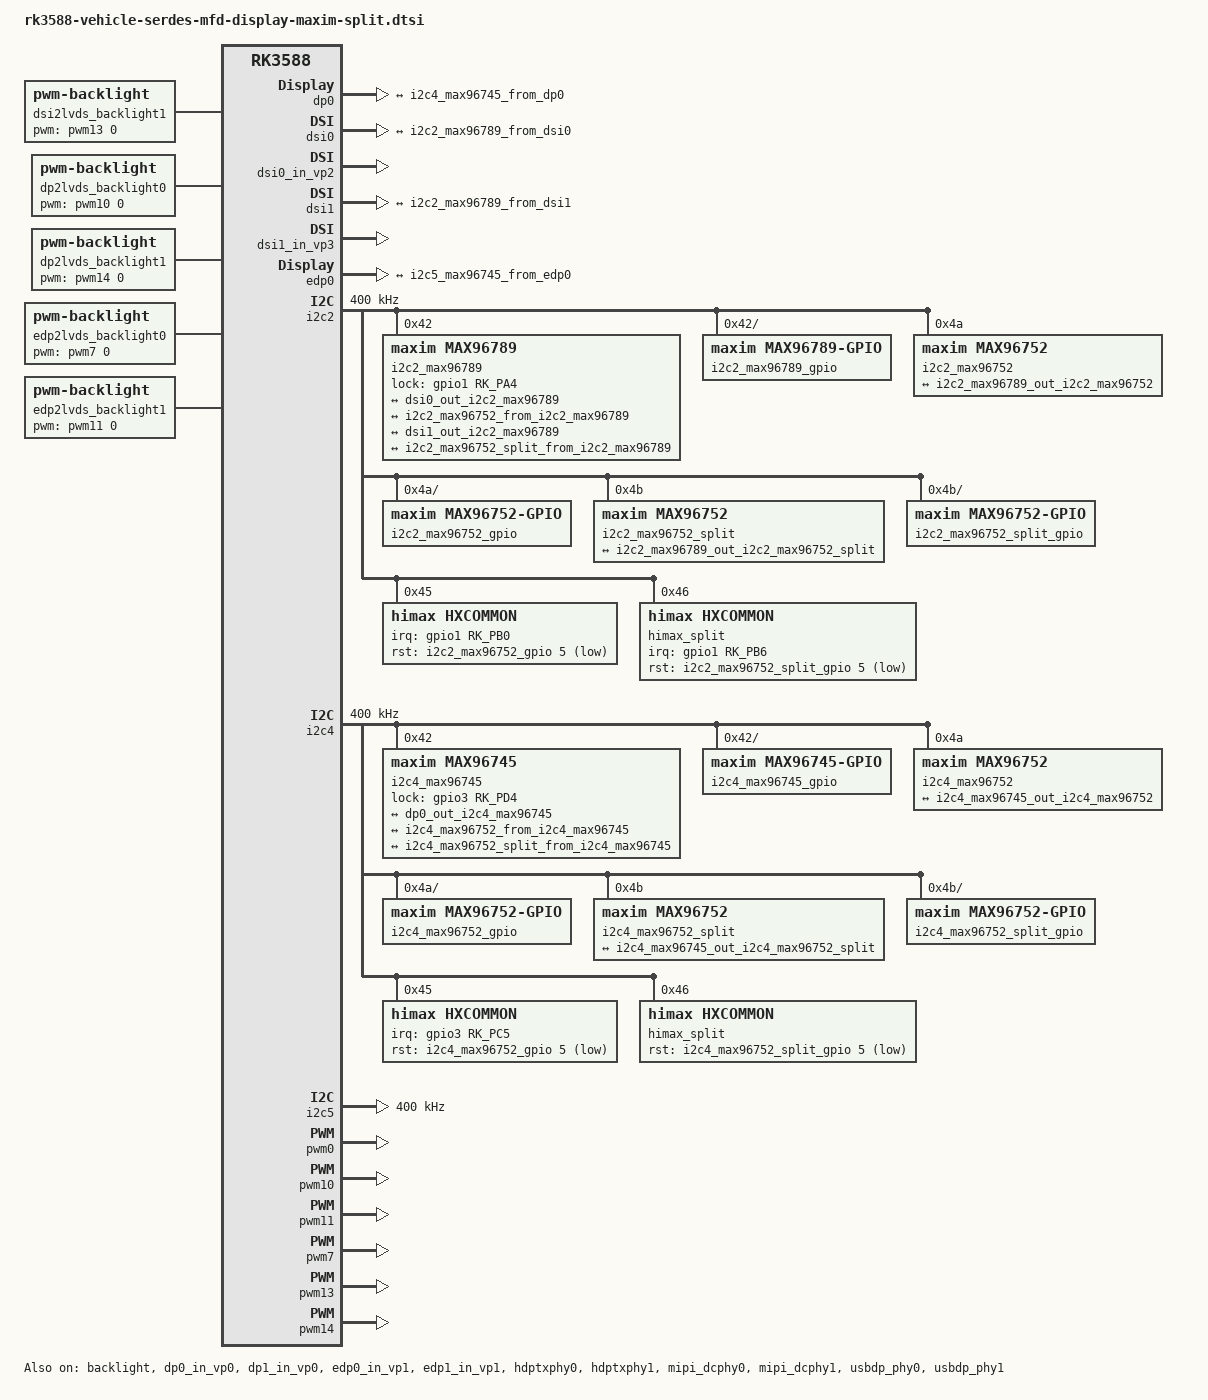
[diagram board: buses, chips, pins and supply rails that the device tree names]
// SPDX-License-Identifier: (GPL-2.0+ OR MIT)
/*
 * Copyright (c) 2023 Rockchip Electronics Co., Ltd.
 *
 */

/ {
	dsi2lvds_backlight1: dsi2lvds_backlight1 {
		compatible = "pwm-backlight";
		brightness-levels = <
			  0  20  20  21  21  22  22  23
			 23  24  24  25  25  26  26  27
			 27  28  28  29  29  30  30  31
			 31  32  32  33  33  34  34  35
			 35  36  36  37  37  38  38  39
			 40  41  42  43  44  45  46  47
			 48  49  50  51  52  53  54  55
			 56  57  58  59  60  61  62  63
			 64  65  66  67  68  69  70  71
			 72  73  74  75  76  77  78  79
			 80  81  82  83  84  85  86  87
			 88  89  90  91  92  93  94  95
			 96  97  98  99 100 101 102 103
			104 105 106 107 108 109 110 111
			112 113 114 115 116 117 118 119
			120 121 122 123 124 125 126 127
			128 129 130 131 132 133 134 135
			136 137 138 139 140 141 142 143
			144 145 146 147 148 149 150 151
			152 153 154 155 156 157 158 159
			160 161 162 163 164 165 166 167
			168 169 170 171 172 173 174 175
			176 177 178 179 180 181 182 183
			184 185 186 187 188 189 190 191
			192 193 194 195 196 197 198 199
			200 201 202 203 204 205 206 207
			208 209 210 211 212 213 214 215
			216 217 218 219 220 221 222 223
			224 225 226 227 228 229 230 231
			232 233 234 235 236 237 238 239
			240 241 242 243 244 245 246 247
			248 249 250 251 252 253 254 255
		>;
		default-brightness-level = <200>;
	};

	dp2lvds_backlight0: dp2lvds_backlight0 {
		compatible = "pwm-backlight";
		brightness-levels = <
			  0  20  20  21  21  22  22  23
			 23  24  24  25  25  26  26  27
			 27  28  28  29  29  30  30  31
			 31  32  32  33  33  34  34  35
			 35  36  36  37  37  38  38  39
			 40  41  42  43  44  45  46  47
			 48  49  50  51  52  53  54  55
			 56  57  58  59  60  61  62  63
			 64  65  66  67  68  69  70  71
			 72  73  74  75  76  77  78  79
			 80  81  82  83  84  85  86  87
			 88  89  90  91  92  93  94  95
			 96  97  98  99 100 101 102 103
			104 105 106 107 108 109 110 111
			112 113 114 115 116 117 118 119
			120 121 122 123 124 125 126 127
			128 129 130 131 132 133 134 135
			136 137 138 139 140 141 142 143
			144 145 146 147 148 149 150 151
			152 153 154 155 156 157 158 159
			160 161 162 163 164 165 166 167
			168 169 170 171 172 173 174 175
			176 177 178 179 180 181 182 183
			184 185 186 187 188 189 190 191
			192 193 194 195 196 197 198 199
			200 201 202 203 204 205 206 207
			208 209 210 211 212 213 214 215
			216 217 218 219 220 221 222 223
			224 225 226 227 228 229 230 231
			232 233 234 235 236 237 238 239
			240 241 242 243 244 245 246 247
			248 249 250 251 252 253 254 255
		>;
		default-brightness-level = <200>;
	};

	dp2lvds_backlight1: dp2lvds_backlight1 {
		compatible = "pwm-backlight";
		brightness-levels = <
			  0  20  20  21  21  22  22  23
			 23  24  24  25  25  26  26  27
			 27  28  28  29  29  30  30  31
			 31  32  32  33  33  34  34  35
			 35  36  36  37  37  38  38  39
			 40  41  42  43  44  45  46  47
			 48  49  50  51  52  53  54  55
			 56  57  58  59  60  61  62  63
			 64  65  66  67  68  69  70  71
			 72  73  74  75  76  77  78  79
			 80  81  82  83  84  85  86  87
			 88  89  90  91  92  93  94  95
			 96  97  98  99 100 101 102 103
			104 105 106 107 108 109 110 111
			112 113 114 115 116 117 118 119
			120 121 122 123 124 125 126 127
			128 129 130 131 132 133 134 135
			136 137 138 139 140 141 142 143
			144 145 146 147 148 149 150 151
			152 153 154 155 156 157 158 159
			160 161 162 163 164 165 166 167
			168 169 170 171 172 173 174 175
			176 177 178 179 180 181 182 183
			184 185 186 187 188 189 190 191
			192 193 194 195 196 197 198 199
			200 201 202 203 204 205 206 207
			208 209 210 211 212 213 214 215
			216 217 218 219 220 221 222 223
			224 225 226 227 228 229 230 231
			232 233 234 235 236 237 238 239
			240 241 242 243 244 245 246 247
			248 249 250 251 252 253 254 255
		>;
		default-brightness-level = <200>;
	};

	edp2lvds_backlight0: edp2lvds_backlight0 {
		compatible = "pwm-backlight";
		brightness-levels = <
			  0  20  20  21  21  22  22  23
			 23  24  24  25  25  26  26  27
			 27  28  28  29  29  30  30  31
			 31  32  32  33  33  34  34  35
			 35  36  36  37  37  38  38  39
			 40  41  42  43  44  45  46  47
			 48  49  50  51  52  53  54  55
			 56  57  58  59  60  61  62  63
			 64  65  66  67  68  69  70  71
			 72  73  74  75  76  77  78  79
			 80  81  82  83  84  85  86  87
			 88  89  90  91  92  93  94  95
			 96  97  98  99 100 101 102 103
			104 105 106 107 108 109 110 111
			112 113 114 115 116 117 118 119
			120 121 122 123 124 125 126 127
			128 129 130 131 132 133 134 135
			136 137 138 139 140 141 142 143
			144 145 146 147 148 149 150 151
			152 153 154 155 156 157 158 159
			160 161 162 163 164 165 166 167
			168 169 170 171 172 173 174 175
			176 177 178 179 180 181 182 183
			184 185 186 187 188 189 190 191
			192 193 194 195 196 197 198 199
			200 201 202 203 204 205 206 207
			208 209 210 211 212 213 214 215
			216 217 218 219 220 221 222 223
			224 225 226 227 228 229 230 231
			232 233 234 235 236 237 238 239
			240 241 242 243 244 245 246 247
			248 249 250 251 252 253 254 255
		>;
		default-brightness-level = <200>;
	};

	edp2lvds_backlight1: edp2lvds_backlight1 {
		compatible = "pwm-backlight";
		brightness-levels = <
			  0  20  20  21  21  22  22  23
			 23  24  24  25  25  26  26  27
			 27  28  28  29  29  30  30  31
			 31  32  32  33  33  34  34  35
			 35  36  36  37  37  38  38  39
			 40  41  42  43  44  45  46  47
			 48  49  50  51  52  53  54  55
			 56  57  58  59  60  61  62  63
			 64  65  66  67  68  69  70  71
			 72  73  74  75  76  77  78  79
			 80  81  82  83  84  85  86  87
			 88  89  90  91  92  93  94  95
			 96  97  98  99 100 101 102 103
			104 105 106 107 108 109 110 111
			112 113 114 115 116 117 118 119
			120 121 122 123 124 125 126 127
			128 129 130 131 132 133 134 135
			136 137 138 139 140 141 142 143
			144 145 146 147 148 149 150 151
			152 153 154 155 156 157 158 159
			160 161 162 163 164 165 166 167
			168 169 170 171 172 173 174 175
			176 177 178 179 180 181 182 183
			184 185 186 187 188 189 190 191
			192 193 194 195 196 197 198 199
			200 201 202 203 204 205 206 207
			208 209 210 211 212 213 214 215
			216 217 218 219 220 221 222 223
			224 225 226 227 228 229 230 231
			232 233 234 235 236 237 238 239
			240 241 242 243 244 245 246 247
			248 249 250 251 252 253 254 255
		>;
		default-brightness-level = <200>;
	};
};

&backlight {
	pwms = <&pwm0 0 25000 0>;
	//pinctrl-names = "default";
	//pinctrl-0 = <&bl0_enable_pin>;
	//enable-gpios = <&gpio1 RK_PA7 GPIO_ACTIVE_HIGH>;
	status = "okay";
};

&dsi2lvds_backlight1 {
	pwms = <&pwm13 0 25000 0>;
	//pinctrl-names = "default";
	//pinctrl-0 = <&bl1_enable_pin>;
	//enable-gpios = <&gpio1 RK_PB6 GPIO_ACTIVE_HIGH>;
	status = "okay";
};

&dp0 {
	//split-mode;
	force-hpd;
	status = "okay";

	ports {
		port@1 {
			reg = <1>;

			dp0_out_i2c4_max96745: endpoint {
				link-frequencies = /bits/ 64 <2700000000>;
				remote-endpoint = <&i2c4_max96745_from_dp0>;
			};
		};
	};
};

&dp0_in_vp0 {
	status = "okay";
};

&dp0_in_vp1 {
	status = "disabled";
};

&dp0_in_vp2 {
	status = "disabled";
};

&dp1 {
	force-hpd;
	status = "disabled";
#if 0
	ports {
		port@1 {
			reg = <1>;

			dp1_out_i2c8_bu18tl82: endpoint {
				remote-endpoint = <&i2c8_bu18tl82_from_dp1>;
			};
		};
	};
#endif
};

&dp1_in_vp0 {
	status = "okay";
};

&dp1_in_vp1 {
	status = "disabled";
};

&dp1_in_vp2 {
	status = "disabled";
};

&dp2lvds_backlight0 {
	pwms = <&pwm10 0 25000 0>;
	//pinctrl-names = "default";
	//pinctrl-0 = <&bl2_enable_pin>;
	//enable-gpios = <&gpio3 RK_PC4 GPIO_ACTIVE_HIGH>;
	status = "okay";
};

&dp2lvds_backlight1 {
	pwms = <&pwm14 0 25000 0>;
	//pinctrl-names = "default";
	//pinctrl-0 = <&bl3_enable_pin>;
	//enable-gpios = <&gpio3 RK_PC6 GPIO_ACTIVE_HIGH>;
	status = "okay";
};

/*
 * mipi_dcphy0 needs to be enabled
 * when dsi0 is enabled
 */
&dsi0 {
	status = "okay";

	ports {
		#address-cells = <1>;
		#size-cells = <0>;

		port@1 {
			reg = <1>;

			dsi0_out_i2c2_max96789: endpoint {
				remote-endpoint = <&i2c2_max96789_from_dsi0>;
			};
		};
	};
};

&dsi0_in_vp2 {
	status = "okay";
};

&dsi0_in_vp3 {
	status = "disabled";
};

/*
 * mipi_dcphy1 needs to be enabled
 * when dsi1 is enabled
 */
&dsi1 {
	status = "okay";

	ports {
		#address-cells = <1>;
		#size-cells = <0>;

		port@1 {
			reg = <1>;

			dsi1_out_i2c2_max96789: endpoint {
				remote-endpoint = <&i2c2_max96789_from_dsi1>;
			};
		};
	};
};

&dsi1_in_vp2 {
	status = "disabled";
};

&dsi1_in_vp3 {
	status = "okay";
};

&edp0 {
	//split-mode;
	force-hpd;
	status = "okay";

	ports {
		port@1 {
			reg = <1>;

			edp0_out_i2c5_max96745: endpoint {
				remote-endpoint = <&i2c5_max96745_from_edp0>;
			};
		};
	};
};

&edp0_in_vp0 {
	status = "disabled";
};

&edp0_in_vp1 {
	status = "okay";
};

&edp0_in_vp2 {
	status = "disabled";
};

&edp1 {
	force-hpd;
	status = "disabled";
};

&edp1_in_vp0 {
	status = "disabled";
};

&edp1_in_vp1 {
	status = "okay";
};

&edp1_in_vp2 {
	status = "disabled";
};

&edp2lvds_backlight0 {
	pwms = <&pwm7 0 25000 0>;
	//pinctrl-names = "default";
	//pinctrl-0 = <&bl4_enable_pin>;
	//enable-gpios = <&gpio0 RK_PD5 GPIO_ACTIVE_HIGH>;
	status = "okay";
};

&edp2lvds_backlight1 {
	pwms = <&pwm11 0 25000 0>;
	//pinctrl-names = "default";
	//pinctrl-0 = <&bl5_enable_pin>;
	//enable-gpios = <&gpio1 RK_PA6 GPIO_ACTIVE_HIGH>;
	status = "okay";
};

&hdmi0 {
	status = "disabled";
};

&hdmi1 {
	status = "disabled";
};

&hdptxphy0 {
	status = "okay";
};

&hdptxphy1 {
	status = "okay";
};

&hdptxphy_hdmi0 {
	status = "disabled";
};

&hdptxphy_hdmi1 {
	status = "disabled";
};

&i2c2 {
	status = "okay";
	pinctrl-names = "default";
	pinctrl-0 = <&i2c2m4_xfer>;
	clock-frequency = <400000>;

	i2c2_max96789: i2c2-max96789@42 {
		compatible = "maxim,max96789";
		reg = <0x42>;
		pinctrl-names = "default";
		pinctrl-0 = <&i2c2_serdes_pins>;
		lock-gpios = <&gpio1 RK_PA4 GPIO_ACTIVE_HIGH>;
		sel-mipi;
		id-serdes-bridge-split = <0x01>;
		status = "okay";

		serdes-init-sequence = [
			//Independent 11_07_17-56 Using MAX96789/91/F (GMSL-1/2)
			//Disable Video pipe
			0002 0003
			//Address Value of I2C SRC_A
			0042 008a
			//Address Value of I2C DST_A
			0043 008a
			//Address Value of I2C SRC_B
			0044 008c
			//Address Value of I2C DST_B
			0045 008c
			//Set Stream for DSI Port A && assign pipeX
			0053 0010
			//Set Stream for DSI Port B && assign pipeY
			0057 0021
			//Clock Select, X for portA, Y/Z for PortB
			0308 0076
			//Start DSI Port
			0311 0061
			//Set Port A Lane Mapping
			0332 004E
			//Set Port B Lane Mapping
			0333 00E4
			//Set GMSL type
			0004 00F2
			//Number of Lanes
			0331 0033
			//Set phy_config
			0330 0006
			//Set soft_dtx_en
			031C 0098
			//Set soft_dtx
			0321 0024
			//Set soft_dty_en
			031D 0098
			//Set soft_dty_
			0322 0024
			//Init Default
			0326 00E4
			//HSYNC_WIDTH_L
			0385 0038
			//VSYNC_WIDTH_L
			0386 0008
			//HSYNC_WIDTH_H/VSYNC_WIDTH_H
			0387 0000
			//VFP_L
			03A5 00C8
			//VBP_H
			03A7 0000
			//VFP_H/VBP_L
			03A6 0020
			//VRES_L
			03A8 00D0
			//VRES_H
			03A9 0002
			//HFP_L
			03AA 0038
			//HBP_H
			03AC 0002
			//HFP_H/HBP_L
			03AB 0000
			//HRES_L
			03AD 0080
			//HRES_H
			03AE 0007
			//Disable FIFO/DESKEW_EN
			03A4 00C0
			//HSYNC_WIDTH_L
			0395 0038
			//VSYNC_WIDTH_L
			0396 0008
			//HSYNC_WIDTH_H/VSYNC_WIDTH_H
			0397 0000
			//VFP_L
			03B1 00C8
			//VBP_H
			03B3 0000
			//VFP_H/VBP_L
			03B2 0020
			//VRES_L
			03B4 00D0
			//VRES_H
			03B5 0002
			//HFP_L
			03B6 0038
			//HBP_H
			03B8 0002
			//HFP_H/HBP_L
			03B7 0000
			//HRES_L
			03B9 0080
			//HRES_H
			03BA 0007
			//Disable FIFO/DESKEW_EN
			03B0 00C0
			//Turn on video pipe
			0002 0033
			//Enable splitter mode  reset one shot
			0010 0023
			ffff f000	//0xf000 ms delay
		];

		i2c2_max96789_pinctrl: i2c2-max96789-pinctrl {
			compatible = "maxim,max96789-pinctrl";
			pinctrl-names = "default","sleep";
			pinctrl-0 = <&i2c2_max96789_pinctrl_pins>;
			pinctrl-1 = <&i2c2_max96789_pinctrl_pins>;
			status = "okay";
			i2c2_max96789_pinctrl_pins: pinctrl-pins {
				i2c {
					groups = "MAX96789_I2C";
					function = "MAX96789_I2C";
				};
				lcd-bl-pwm {
					pins = "MAX96789_MFP7";
					function = "SER_TXID4_TO_DES";
				};
				tp-int {
					pins = "MAX96789_MFP8";
					function = "DES_RXID8_TO_SER";
				};
				lcd-bl-pwm-split {
					pins = "MAX96789_MFP16";
					function = "SER_TXID4_TO_DES";
				};
				tp-int-split {
					pins = "MAX96789_MFP14";
					function = "DES_RXID14_TO_SER";
				};
			};

			i2c2_max96789_gpio: i2c2-max96789-gpio {
				compatible = "maxim,max96789-gpio";
				status = "okay";

				gpio-controller;
				#gpio-cells = <2>;
				gpio-ranges = <&i2c2_max96789_pinctrl 0 160 20>;
			};
		};

		i2c2_max96789_bridge: i2c2-max96789-bridge {
			compatible = "maxim,max96789-bridge";
			status = "okay";

			ports {
				#address-cells = <1>;
				#size-cells = <0>;

				port@0 {
					reg = <0>;
					i2c2_max96789_from_dsi0: endpoint {
						remote-endpoint = <&dsi0_out_i2c2_max96789>;
					};
				};

				port@1 {
					reg = <1>;
					i2c2_max96789_out_i2c2_max96752: endpoint {
						remote-endpoint = <&i2c2_max96752_from_i2c2_max96789>;
					};
				};
			};
		};

		i2c2_max96789_bridge_split: i2c2-max96789-bridge-split {
			compatible = "maxim,max96789-bridge-split";
			status = "okay";

			ports {
				#address-cells = <1>;
				#size-cells = <0>;

				port@0 {
					reg = <0>;
					i2c2_max96789_from_dsi1: endpoint {
						remote-endpoint = <&dsi1_out_i2c2_max96789>;
					};
				};

				port@1 {
					reg = <1>;
					i2c2_max96789_out_i2c2_max96752_split: endpoint {
						remote-endpoint = <&i2c2_max96752_split_from_i2c2_max96789>;
					};
				};
			};
		};
	};

	i2c2_max96752: i2c2-max96752@4a {
		compatible = "maxim,max96752";
		reg = <0x4a>;
		//reg-hw = <0x4a>;
		id-serdes-panel-split = <0x01>;
		link = <0x01>;
		status = "okay";

		serdes-init-sequence = [
			/*max96752 dual oLDI output*/
			0002 0043
			0073 0031
			007b 0031
			007d 0038
			//Address Value of I2C SRC_A
			0042 008a
			//Address Value of I2C DST_A
			0043 0090

			0050 0000
			01ce 004e
			01ea 0005
		];

		i2c2_max96752_pinctrl: i2c2-max96752-pinctrl {
			compatible = "maxim,max96752-pinctrl";
			pinctrl-names = "default","init","sleep";
			pinctrl-0 = <&i2c2_max96752_panel_pins>;
			pinctrl-1 = <&i2c2_max96752_panel_pins>;
			pinctrl-2 = <&i2c2_max96752_panel_sleep_pins>;
			status = "okay";

			i2c2_max96752_panel_pins: panel-pins {
				lcd-rst-pin {
					pins = "MAX96752_GPIO10";
					function = "DES_TXID10_OUTPUT_HIGH";
				};
				tp-rst {
					pins = "MAX96752_GPIO5";
					function = "DES_TXID5_OUTPUT_HIGH";
				};
				lcd-bias-en {
					pins = "MAX96752_GPIO7";
					function = "DES_TXID7_OUTPUT_HIGH";
				};
				lcd-vdd-en {
					pins = "MAX96752_GPIO6";
					function = "DES_TXID6_OUTPUT_HIGH";
				};
				tp-int {
					pins = "MAX96752_GPIO2";
					function = "DES_TXID8_TO_SER";
				};
				100ms-delay {
					pins = "MAX96752_GPIO15";
					function = "DELAY_100MS";
				};
				lcd-pwr-on {
					pins = "MAX96752_GPIO3";
					function = "DES_TXID3_OUTPUT_HIGH";
				};
				lcd-bl-pwm {
					pins = "MAX96752_GPIO4";
					function = "SER_TO_DES_RXID4";
				};
			};

			i2c2_max96752_panel_sleep_pins: panel-sleep-pins {
				lcd-rst-pin {
					pins = "MAX96752_GPIO10";
					function = "DES_TXID10_OUTPUT_LOW";
				};
				tp-rst {
					pins = "MAX96752_GPIO5";
					function = "DES_TXID5_OUTPUT_LOW";
				};
				lcd-pwr-on {
					pins = "MAX96752_GPIO3";
					function = "DES_TXID3_OUTPUT_LOW";
				};
			};

			i2c2_max96752_gpio: i2c2-max96752-gpio {
				compatible = "maxim,max96752-gpio";
				status = "okay";

				gpio-controller;
				#gpio-cells = <2>;
				gpio-ranges = <&i2c2_max96752_pinctrl 0 180 15>;
			};
		};

		i2c2_max96752_panel: i2c2-max96752-panel {
			compatible = "maxim,max96752-panel";
			status = "okay";

			backlight = <&backlight>;
			panel-size= <346 194>;

			panel-timing {
				clock-frequency = <115200000>;
				hactive = <1920>;
				vactive = <720>;
				hfront-porch = <56>;
				hsync-len = <32>;
				hback-porch = <56>;
				vfront-porch = <200>;
				vsync-len = <2>;
				vback-porch = <8>;
				hsync-active = <0>;
				vsync-active = <0>;
				de-active = <0>;
				pixelclk-active = <0>;
			};

			ports {
				#address-cells = <1>;
				#size-cells = <0>;

				port@0 {
					reg = <0>;
					i2c2_max96752_from_i2c2_max96789: endpoint {
						remote-endpoint = <&i2c2_max96789_out_i2c2_max96752>;
					};
				};
			};
		};
	};

	i2c2_max96752_split: i2c2-max96752-split@4b {
		compatible = "maxim,max96752";
		reg = <0x4b>;
		reg-hw = <0x4a>;
		id-serdes-panel-split = <0x01>;
		link = <0x02>;
		status = "okay";

		serdes-init-sequence = [
			/*max96752 dual oLDI output*/
			0002 0043
			0073 0032
			007b 0032
			007d 0038

			//Address Value of I2C SRC_A
			0042 008c
			//Address Value of I2C DST_A
			0043 0090
			//0140 0020
			0050 0001
			01ce 004e
			01ea 0005
		];

		i2c2_max96752_split_pinctrl: i2c2-max96752-split-pinctrl {
			compatible = "maxim,max96752-pinctrl";
			pinctrl-names = "default","init","sleep";
			pinctrl-0 = <&i2c2_max96752_split_panel_pins>;
			pinctrl-1 = <&i2c2_max96752_split_panel_pins>;
			pinctrl-2 = <&i2c2_max96752_split_panel_sleep_pins>;
			status = "okay";

			i2c2_max96752_split_panel_pins: panel-pins {
				lcd-rst-pin {
					pins = "MAX96752_GPIO10";
					function = "DES_TXID10_OUTPUT_HIGH";
				};
				tp-rst {
					pins = "MAX96752_GPIO5";
					function = "DES_TXID5_OUTPUT_HIGH";
				};
				lcd-bias-en {
					pins = "MAX96752_GPIO7";
					function = "DES_TXID7_OUTPUT_HIGH";
				};
				lcd-vdd-en {
					pins = "MAX96752_GPIO6";
					function = "DES_TXID6_OUTPUT_HIGH";
				};
				tp-int {
					pins = "MAX96752_GPIO2";
					function = "DES_TXID14_TO_SER";
				};
				100ms-delay {
					pins = "MAX96752_GPIO15";
					function = "DELAY_100MS";
				};
				lcd-pwr-on {
					pins = "MAX96752_GPIO3";
					function = "DES_TXID3_OUTPUT_HIGH";
				};
				lcd-bl-pwm {
					pins = "MAX96752_GPIO4";
					function = "SER_TO_DES_RXID4";
				};
			};

			i2c2_max96752_split_panel_sleep_pins: panel-sleep-pins {
				lcd-rst-pin {
					pins = "MAX96752_GPIO10";
					function = "DES_TXID10_OUTPUT_LOW";
				};
				tp-rst {
					pins = "MAX96752_GPIO5";
					function = "DES_TXID5_OUTPUT_LOW";
				};
				lcd-pwr-on {
					pins = "MAX96752_GPIO3";
					function = "DES_TXID3_OUTPUT_LOW";
				};
			};

			i2c2_max96752_split_gpio: i2c2-max96752-split-gpio {
				compatible = "maxim,max96752-gpio";
				status = "okay";

				gpio-controller;
				#gpio-cells = <2>;
				gpio-ranges = <&i2c2_max96752_split_pinctrl 0 200 15>;
			};
		};

		i2c2_max96752_split_panel: i2c2-max96752-split-panel {
			compatible = "maxim,max96752-panel-split";
			status = "okay";

			backlight = <&dsi2lvds_backlight1>;
			panel-size= <346 194>;

			panel-timing {
				clock-frequency = <115200000>;
				hactive = <1920>;
				vactive = <720>;
				hfront-porch = <56>;
				hsync-len = <32>;
				hback-porch = <56>;
				vfront-porch = <200>;
				vsync-len = <2>;
				vback-porch = <8>;
				hsync-active = <0>;
				vsync-active = <0>;
				de-active = <0>;
				pixelclk-active = <0>;
			};

			ports {
				#address-cells = <1>;
				#size-cells = <0>;

				port@0 {
					reg = <0>;
					i2c2_max96752_split_from_i2c2_max96789: endpoint {
						remote-endpoint = <&i2c2_max96789_out_i2c2_max96752_split>;
					};
				};
			};
		};
	};

	himax@45 {
		compatible = "himax,hxcommon";
		reg = <0x45>;
		pinctrl-names = "default", "sleep";
		pinctrl-0 = <&touch_gpio_dsi0>;
		pinctrl-1 = <&touch_gpio_dsi0>;
		himax,location = "himax-touch-dsi0";
		himax,irq-gpio = <&gpio1 RK_PB0 IRQ_TYPE_EDGE_FALLING>;
		himax,rst-gpio = <&i2c2_max96752_gpio 5 GPIO_ACTIVE_LOW>;
		himax,panel-coords = <0 1920 0 720>;
		himax,display-coords = <0 1920 0 720>;
		status = "okay";
	};

	himax_split@46 {
		compatible = "himax,hxcommon";
		reg = <0x46>;
		pinctrl-names = "default", "sleep";
		pinctrl-0 = <&touch_gpio_dsi1>;	//hw change
		pinctrl-1 = <&touch_gpio_dsi1>;
		himax,location = "himax-touch-dsi1";
		himax,irq-gpio = <&gpio1 RK_PB6 IRQ_TYPE_EDGE_FALLING>;
		himax,rst-gpio = <&i2c2_max96752_split_gpio 5 GPIO_ACTIVE_LOW>;
		himax,panel-coords = <0 1920 0 720>;
		himax,display-coords = <0 1920 0 720>;
		status = "okay";
	};
};

&i2c4 {
	pinctrl-0 = <&i2c4m2_xfer>;
	clock-frequency = <400000>;
	status = "okay";

	i2c4_max96745: i2c4-max96745@42 {
		compatible = "maxim,max96745";
		reg = <0x42>;
		pinctrl-names = "default";
		pinctrl-0 = <&i2c4_serdes_pins>;
		lock-gpios = <&gpio3 RK_PD4 GPIO_ACTIVE_HIGH>;
		#address-cells = <1>;
		#size-cells = <0>;
		id-serdes-bridge-split = <0x02>;
		status = "okay";

		serdes-init-sequence = [
			//Address Value of I2C SRC_A
			0042 008a
			//Address Value of I2C DST_A
			0043 008a
			//Address Value of I2C SRC_B
			0044 008c
			//Address Value of I2C DST_B
			0045 008c
			//Set TX_STR_SEL_X to 0
			00A3	0000
			//Set TX_STR_SEL_Y to 1
			00A7	0001
			//Set TX_STR_SEL_Z to 2
			00AB	0002
			//Set TX_STR_SEL_U to 3
			00AF	0003

			//INFOFR TX_SRC_ID0:1:2
			00C2	0001
			//CC TX_SRC_ID0:1:2
			00D2	0002
			//IIC X TX_SRC_ID0:1:2
			00EA	0001
			//IIC Y TX_SRC_ID0:1:2
			00F2	0002

			00B2	0003
			00BA	0003
			00CA	0003
			00C2	0003
			00D2	0003
			00DA	0003
			00E2	0003
			00EA	0003
			00F2	0003
			//Set X_VID_LINK_SEL to 0
			0100	0061
			//Set Y_VID_LINK_SEL to 1
			0110	0063
			//Set Z_VID_LINK_SEL to 0
			0120	0061
			//Set U_VID_LINK_SEL to 1
			0130	0063
			//ASYM_WR_B_MUX_Y of SER will be written 1
			05CE	003F
			//ASYM_WAIT_LINE_FOR_READ_X of SER will be written 1
			04D1	00F8
			//ASYM_WAIT_LINE_FOR_READ_Y of SER will be written 1
			05D1	00F8
			//ASYM_VID_EN_W_VS_X of SER will be written 1
			04CF	00BF
			//ASYM_VID_EN_W_VS_Y of SER will be written 1
			05CF	00BF
			//ASYM_FR2FR_CTRL_EN_X of SER will be written 1
			04D1	00FC
			//ASYM_FR2FR_CTRL_EN_Y of SER will be written 1
			05D1	00FC
			//ALT_VTG_EN_X
			04CE	002F
			//AUTO_VTG_CFG_X
			04CE	000F
			//ALT_VTG_EN_Y
			05CE	0027
			//AUTO_VTG_CFG_Y
			05CE	0007
			//X_M_l
			04C0	0020
			//X_M_m
			04C1	004A
			//X_M_h
			04C2	001D
			//X_N_l
			04C3	00C8
			//X_N_m
			04C4	0008
			//X_N_h
			04C5	0007
			//X_X_OFFSET_l
			04C6	0000
			//X_X_OFFSET_h
			04C7	0000
			//X_X_MAX_l
			04C8    0080
			//X_X_MAX_h
			04C9	0007
			//X_Y_MAX_l
			04CA	00D0
			//X_Y_MAX_h
			04CB	0002
			//Y_M
			05C0	0020
			//Y_M_h
			05C1	004A
			//Y_M_h
			05C2	001D
			//Y_N_l
			05C3	00C8
			//Y_N_m
			05C4	0008
			//Y_N_h
			05C5	0007
			//Y_X_OFFSET_l
			05C6	0080
			//Y_X_OFFSET_h
			05C7	0007
			//Y_X_MAX_l
			05C8	0000
			//Y_X_MAX_h
			05C9	000F
			//Y_Y_MAX_l
			05CA	00D0
			//Y_Y_MAX_h
			05CB	0002
			//X_LUT_TEMPLATE_SEL
			04CD	0014
			//X_vs_dly_l
			04D8	0080
			//X_vs_dly_m
			04D9	00F9
			//X_vs_dly_h
			04DA	001C
			//X_vs_high_l
			04DB	0080
			//X_vs_high_m
			04DC	0040
			//X_vs_high_h
			04DD	0000
			//X_vs_low_l
			04DE	0020
			//X_vs_low_m
			04DF	0010
			//X_vs_low_h
			04E0	0000
			//X_hs_dly_l
			04E1	0000
			//X_hs_dly_m
			04E2	0000
			//X_hs_dly_h
			04E3	0000
			//X_hs_high_l
			04E4	0038
			//X_hs_high_h
			04E5	0000
			//X_hs_low_l
			04E6	00D8
			//X_hs_low_h
			04E7	0007
			//X_hs_cnt_l
			04E8	00A2
			//X_hs_cnt_h
			04E9	0003
			//X_hs_llow_l
			04EA	0000
			//X_hs_llow_m
			04EB	0000
			//X_hs_llow_h
			04EC	0000
			//X_de_dly_l
			04ED	0058
			//X_de_dly_m
			04EE	0000
			//X_de_dly_h
			04EF	0000
			//X_de_high_l
			04F0	0080
			//X_de_high_h
			04F1	0007
			//X_de_low_l
			04F2	0090
			//X_de_low_h
			04F3	0000
			//X_de_cnt_l
			04F4	00D0
			//X_de_cnt_h
			04F5	0002
			//X_de_llow_l
			04F6	00C8
			//X_de_llow_m
			04F7	009C
			//X_de_llow_h
			04F8	0006
			//Y_vs_dly_l
			05D8	0080
			//Y_vs_dly_m
			05D9	00F9
			//Y_vs_dly_h
			05DA	001C
			//Y_vs_high_l
			05DB	0080
			//Y_vs_high_m
			05DC	0040
			//Y_vs_high_h
			05DD	0000
			//Y_vs_low_l
			05DE	0020
			//Y_vs_low_m
			05DF	0010
			//Y_vs_low_h
			05E0	0000
			//Y_hs_dly_l
			05E1	0000
			//Y_hs_dly_m
			05E2	0000
			//Y_hs_dly_h
			05E3	0000
			//Y_hs_high_l
			05E4	0038
			//Y_hs_high_h
			05E5	0000
			//Y_hs_low_l
			05E6	00D8
			//Y_hs_low_h
			05E7	0007
			//Y_hs_cnt_l
			05E8	00A2
			//Y_hs_cnt_h
			05E9	0003
			//Y_hs_llow_l
			05EA	0000
			//Y_hs_llow_m
			05EB	0000
			//Y_hs_llow_h
			05EC	0000
			//Y_de_dly_l
			05ED	0058
			//Y_de_dly_m
			05EE	0000
			//Y_de_dly_h
			05EF	0000
			//Y_de_high_l
			05F0	0080
			//Y_de_high_h
			05F1	0007
			//Y_de_low_l
			05F2	0090
			//Y_de_low_h
			05F3	0000
			//Y_de_cnt_l
			05F4	00D0
			//Y_de_cnt_h
			05F5	0002
			//Y_de_llow_l
			05F6	00C8
			//Y_de_llow_m
			05F7	009C
			//Y_de_llow_h
			05F8	0006
			//Y_LUT_TEMPLATE_SEL
			05CD	0014
			//Turn off video
			6420	0010
			//Disable MST mode
			7019	0000
			//7019	0001	//Set MST_FUNCTION_ENABLE to 1
			//7904	0001	// Set MST_PAYLOAD_ID_0 to 01
			//7908	0002	// Set MST_PAYLOAD_ID_1 to 01
			//Disable MST_VS0_DTG_ENABLE
			7A14	0000
			//Disable LINK_ENABLE
			7000	0000
			//Reset DPRX core (VIDEO_INPUT_RESET)
			7054	0001
			ffff	f000	//delay 0xf000 us
			//Set MAX_LINK_RATE to 2.7Gb/s
			7074	000A
			//Set MAX_LINK_COUNT to 4
			7070	0004
			//Set ASYM_CTRL_PROP_GAIN to 000A
			04D0	000A
			05D0	000A
			//Set AEQ time to 16ms
			6064	0000
			6065	0000
			6164	0000
			6165	0000
			6264	0000
			6265	0000
			6364	0000
			6365	0000
			//Enable LINK_ENABLE
			7000	0001
			//delay 1000
			//Disable MSA reset
			7A18	0005
			//Adjust VS0_DMA_HSYNC
			7A28	00FF
			7A2A	00FF
			//Adjust VS0_DMA_VSYNC
			7A24	00FF
			7A27	000F
			//Enable MST_VS0_DTG_ENABLE
			7A14	0001
			//set EDP Video Control
			6421	0001
			//Turn on video
			6420	0013
			//delay 100
			//Turn off video
			6420	0010
			//delay 100
			//Turn on video
			6420	0013
			6421	0003
		];


		i2c4_max96745_pinctrl: i2c4-max96745-pinctrl {
			compatible = "maxim,max96745-pinctrl";
			pinctrl-names = "default";
			pinctrl-0 = <&i2c4_max96745_pinctrl_pins>;
			status = "okay";

			i2c4_max96745_pinctrl_pins: pinctrl-pins {
				i2c {
					groups = "MAX96745_I2C";
					function = "MAX96745_I2C";
				};
				lcd-bl-pwm {
					pins = "MAX96745_MFP0";
					function = "SER_TXID0_TO_DES_LINKA";
				};
				tp-int {
					pins = "MAX96745_MFP1";
					function = "DES_RXID1_TO_SER_LINKA";
				};
				lcd-bl-pwm-split {
					pins = "MAX96745_MFP4";
					function = "SER_TXID4_TO_DES_LINKB";
				};
				tp-int-split {
					pins = "MAX96745_MFP5";
					function = "DES_RXID5_TO_SER_LINKB";
				};
			};

			i2c4_max96745_gpio: i2c4-max96745-gpio {
				compatible = "maxim,max96745-gpio";
				status = "okay";

				gpio-controller;
				#gpio-cells = <2>;
				gpio-ranges = <&i2c4_max96745_pinctrl 0 220 25>;
			};
		};

		i2c4_max96745_bridge: i2c4-max96745-bridge {
			compatible = "maxim,max96745-bridge";
			status = "okay";
		};

		ports {
			#address-cells = <1>;
			#size-cells = <0>;

			port@0 {
				reg = <0>;
				i2c4_max96745_from_dp0: endpoint {
					remote-endpoint = <&dp0_out_i2c4_max96745>;
				};
			};
			port@1 {
				reg = <1>;
				i2c4_max96745_out_i2c4_max96752: endpoint {
					remote-endpoint = <&i2c4_max96752_from_i2c4_max96745>;
				};
			};
			port@2 {
				reg = <2>;
				i2c4_max96745_out_i2c4_max96752_split: endpoint {
					remote-endpoint = <&i2c4_max96752_split_from_i2c4_max96745>;
				};
			};
		};
	};

	i2c4_max96752: i2c4-max96752@4a {
		compatible = "maxim,max96752";
		reg = <0x4a>;
		#address-cells = <1>;
		#size-cells = <0>;
		id-serdes-panel-split = <0x02>;
		link = <0x01>;
		status = "okay";

		serdes-init-sequence = [
			/*max96752 dual oLDI output*/
			0002 0043
			0073 0031
			007b 0031
			007d 0038
			//Address Value of I2C SRC_A
			0042 008a
			//Address Value of I2C DST_A
			0043 0090

			0050 0000
			01ce 004e
			01ea 0005
		];

		i2c4_max96752_pinctrl: i2c4-max96752-pinctrl {
			compatible = "maxim,max96752-pinctrl";
			status = "okay";

			pinctrl-names = "default","init","sleep";
			pinctrl-0 = <&i2c4_max96752_panel_pins>;
			pinctrl-1 = <&i2c4_max96752_panel_pins>;
			pinctrl-2 = <&i2c4_max96752_panel_sleep_pins>;

			i2c4_max96752_panel_pins: panel-pins {
				lcd-rst-pin {
					pins = "MAX96752_GPIO10";
					function = "DES_TXID10_OUTPUT_HIGH";
				};
				tp-rst {
					pins = "MAX96752_GPIO5";
					function = "DES_TXID5_OUTPUT_HIGH";
				};
				tp-int {
					pins = "MAX96752_GPIO2";
					function = "DES_TXID1_TO_SER";
				};
				100ms-delay {
					pins = "MAX96752_GPIO15";
					function = "DELAY_100MS";
				};
				lcd-pwr-on {
					pins = "MAX96752_GPIO3";
					function = "DES_TXID3_OUTPUT_HIGH";
				};
				lcd-bl-pwm {
					pins = "MAX96752_GPIO4";
					function = "SER_TO_DES_RXID4";
				};
				lcd_bias_en {
					pins = "MAX96752_GPIO7";
					function = "DES_TXID7_OUTPUT_HIGH";
				};
				lcd_vdd_en {
					pins = "MAX96752_GPIO6";
					function = "DES_TXID6_OUTPUT_HIGH";
				};
			};

			i2c4_max96752_panel_sleep_pins: panel-sleep-pins {
				lcd-rst-pin {
					pins = "MAX96752_GPIO10";
					function = "DES_TXID10_OUTPUT_LOW";
				};
				tp-rst {
					pins = "MAX96752_GPIO5";
					function = "DES_TXID5_OUTPUT_LOW";
				};
				lcd-pwr-on {
					pins = "MAX96752_GPIO3";
					function = "DES_TXID3_OUTPUT_LOW";
				};
			};

			i2c4_max96752_gpio: i2c4-max96752-gpio {
				compatible = "maxim,max96752-gpio";
				status = "okay";

				gpio-controller;
				#gpio-cells = <2>;
				gpio-ranges = <&i2c4_max96752_pinctrl 0 250 15>;
			};
		};

		i2c4_max96752_panel: i2c4-max96752-panel {
			compatible = "maxim,max96752-panel";
			status = "okay";

			backlight = <&dp2lvds_backlight0>;
			panel-size= <346 194>;

			panel-timing {
				clock-frequency = <230400000>;	//4128*930@60
				hactive = <3840>;
				vactive = <720>;
				hfront-porch = <112>;
				hsync-len = <64>;
				hback-porch = <112>;
				vfront-porch = <200>;
				vsync-len = <2>;
				vback-porch = <8>;
				hsync-active = <0>;
				vsync-active = <0>;
				de-active = <0>;
				pixelclk-active = <0>;
			};

			port {
				i2c4_max96752_from_i2c4_max96745: endpoint {
					remote-endpoint = <&i2c4_max96745_out_i2c4_max96752>;
				};
			};
		};

	};

	i2c4_max96752_split: i2c4-max96752-split@4b {
		compatible = "maxim,max96752";
		reg = <0x4b>;
		reg-hw = <0x4a>;
		#address-cells = <1>;
		#size-cells = <0>;
		id-serdes-panel-split = <0x02>;
		link = <0x02>;
		status = "okay";

		serdes-init-sequence = [
			/*max96752 dual oLDI output*/
			0002 0043
			0073 0032
			007b 0032
			007d 0038
			//Address Value of I2C SRC_A
			0042 008c
			//Address Value of I2C DST_A
			0043 0090

			//0140 0020
			0050 0001
			01ce 004e
			01ea 0005
		];

		i2c4_max96752_split_pinctrl: i2c4-max96752-split-pinctrl {
			compatible = "maxim,max96752-pinctrl";
			status = "okay";

			pinctrl-names = "default","init","sleep";
			pinctrl-0 = <&i2c4_max96752_split_panel_pins>;
			pinctrl-1 = <&i2c4_max96752_split_panel_pins>;
			pinctrl-2 = <&i2c4_max96752_split_panel_sleep_pins>;

			i2c4_max96752_split_panel_pins: i2c4-max96752-split-panel-pins {
				lcd-rst-pin {
					pins = "MAX96752_GPIO10";
					function = "DES_TXID10_OUTPUT_HIGH";
				};
				tp-rst {
					pins = "MAX96752_GPIO5";
					function = "DES_TXID5_OUTPUT_HIGH";
				};
				tp-int {
					pins = "MAX96752_GPIO2";
					function = "DES_TXID4_TO_SER";
				};
				100ms-delay {
					pins = "MAX96752_GPIO15";
					function = "DELAY_100MS";
				};
				lcd-pwr-on {
					pins = "MAX96752_GPIO3";
					function = "DES_TXID3_OUTPUT_HIGH";
				};
				lcd-bl-pwm {
					pins = "MAX96752_GPIO4";
					function = "SER_TO_DES_RXID4";
				};
				lcd_bias_en {
					pins = "MAX96752_GPIO7";
					function = "DES_TXID7_OUTPUT_HIGH";
				};
				lcd_vdd_en {
					pins = "MAX96752_GPIO6";
					function = "DES_TXID6_OUTPUT_HIGH";
				};
			};

			i2c4_max96752_split_panel_sleep_pins: i2c4-max96752-split-panel-sleep-pins {
				lcd-rst-pin {
					pins = "MAX96752_GPIO10";
					function = "DES_TXID10_OUTPUT_LOW";
				};
				tp-rst {
					pins = "MAX96752_GPIO5";
					function = "DES_TXID5_OUTPUT_LOW";
				};
				lcd-pwr-on {
					pins = "MAX96752_GPIO3";
					function = "DES_TXID3_OUTPUT_LOW";
				};
			};

			i2c4_max96752_split_gpio: i2c4-max96752-split-gpio {
				compatible = "maxim,max96752-gpio";
				status = "okay";

				gpio-controller;
				#gpio-cells = <2>;
				gpio-ranges = <&i2c4_max96752_split_pinctrl 0 265 15>;
			};
		};

		i2c4_max96752_split_panel: i2c4-max96752-split-panel {
			compatible = "maxim,max96752-panel-split";
			status = "okay";

			backlight = <&dp2lvds_backlight0>;
			panel-size= <346 194>;

			panel-timing {
				clock-frequency = <115200000>;
				hactive = <1920>;
				vactive = <720>;
				hfront-porch = <56>;
				hsync-len = <32>;
				hback-porch = <56>;
				vfront-porch = <200>;
				vsync-len = <2>;
				vback-porch = <8>;
				hsync-active = <0>;
				vsync-active = <0>;
				de-active = <0>;
				pixelclk-active = <0>;
			};

			port {
				i2c4_max96752_split_from_i2c4_max96745: endpoint {
					remote-endpoint = <&i2c4_max96745_out_i2c4_max96752_split>;
				};
			};
		};
	};

	himax@45 {
		compatible = "himax,hxcommon";
		reg = <0x45>;
		pinctrl-names = "default", "sleep";
		pinctrl-0 = <&touch_gpio_dp0>;
		pinctrl-1 = <&touch_gpio_dp0>;
		himax,location = "himax-touch-dp0";
		himax,irq-gpio = <&gpio3 RK_PC5 IRQ_TYPE_EDGE_FALLING>;
		himax,rst-gpio = <&i2c4_max96752_gpio 5 GPIO_ACTIVE_LOW>;
		himax,panel-coords = <0 1920 0 720>;
		himax,display-coords = <0 1920 0 720>;
		status = "okay";
	};

	himax_split@46 {
		compatible = "himax,hxcommon";
		reg = <0x46>;
		pinctrl-names = "default", "sleep";
		pinctrl-0 = <&touch_gpio_edp0>;
		pinctrl-1 = <&touch_gpio_edp0>;
		himax,location = "himax-touch-dp0-split";
		//himax,irq-gpio = <&gpio3 RK_PC5 IRQ_TYPE_EDGE_FALLING>;
		himax,rst-gpio = <&i2c4_max96752_split_gpio 5 GPIO_ACTIVE_LOW>;
		himax,panel-coords = <0 1920 0 720>;
		himax,display-coords = <0 1920 0 720>;
		status = "okay";
	};
};

&i2c5 {
	clock-frequency = <400000>;
	status = "okay";

	i2c5_max96745: i2c5-max96745@42 {
		compatible = "maxim,max96745";
		reg = <0x42>;
		pinctrl-names = "default";
		pinctrl-0 = <&i2c5_serdes_pins>;
		lock-gpios = <&gpio0 RK_PD2 GPIO_ACTIVE_HIGH>;
		#address-cells = <1>;
		#size-cells = <0>;
		id-serdes-bridge-split = <0x02>;
		status = "disabled";

		serdes-init-sequence = [
			//Address Value of I2C SRC_A
			0042 008a
			//Address Value of I2C DST_A
			0043 008a
			//Address Value of I2C SRC_B
			0044 008c
			//Address Value of I2C DST_B
			0045 008c
			//Set TX_STR_SEL_X to 0
			00A3	0000
			//Set TX_STR_SEL_Y to 1
			00A7	0001
			//Set TX_STR_SEL_Z to 2
			00AB	0002
			//Set TX_STR_SEL_U to 3
			00AF	0003

			//INFOFR TX_SRC_ID0:1:2
			00C2	0001
			//CC TX_SRC_ID0:1:2
			00D2	0002
			//IIC X TX_SRC_ID0:1:2
			00EA	0001
			//IIC Y TX_SRC_ID0:1:2
			00F2	0002

			00B2	0003
			00BA	0003
			00CA	0003
			00C2	0003
			00D2	0003
			00DA	0003
			00E2	0003
			00EA	0003
			00F2	0003
			//Set X_VID_LINK_SEL to 0
			0100	0061
			//Set Y_VID_LINK_SEL to 1
			0110	0063
			//Set Z_VID_LINK_SEL to 0
			0120	0061
			//Set U_VID_LINK_SEL to 1
			0130	0063
			//ASYM_WR_B_MUX_Y of SER will be written 1
			05CE	003F
			//ASYM_WAIT_LINE_FOR_READ_X of SER will be written 1
			04D1	00F8
			//ASYM_WAIT_LINE_FOR_READ_Y of SER will be written 1
			05D1	00F8
			//ASYM_VID_EN_W_VS_X of SER will be written 1
			04CF	00BF
			//ASYM_VID_EN_W_VS_Y of SER will be written 1
			05CF	00BF
			//ASYM_FR2FR_CTRL_EN_X of SER will be written 1
			04D1	00FC
			//ASYM_FR2FR_CTRL_EN_Y of SER will be written 1
			05D1	00FC
			//ALT_VTG_EN_X
			04CE	002F
			//AUTO_VTG_CFG_X
			04CE	000F
			//ALT_VTG_EN_Y
			05CE	0027
			//AUTO_VTG_CFG_Y
			05CE	0007
			//X_M_l
			04C0	0020
			//X_M_m
			04C1	004A
			//X_M_h
			04C2	001D
			//X_N_l
			04C3	00C8
			//X_N_m
			04C4	0008
			//X_N_h
			04C5	0007
			//X_X_OFFSET_l
			04C6	0000
			//X_X_OFFSET_h
			04C7	0000
			//X_X_MAX_l
			04C8    0080
			//X_X_MAX_h
			04C9	0007
			//X_Y_MAX_l
			04CA	00D0
			//X_Y_MAX_h
			04CB	0002
			//Y_M
			05C0	0020
			//Y_M_h
			05C1	004A
			//Y_M_h
			05C2	001D
			//Y_N_l
			05C3	00C8
			//Y_N_m
			05C4	0008
			//Y_N_h
			05C5	0007
			//Y_X_OFFSET_l
			05C6	0080
			//Y_X_OFFSET_h
			05C7	0007
			//Y_X_MAX_l
			05C8	0000
			//Y_X_MAX_h
			05C9	000F
			//Y_Y_MAX_l
			05CA	00D0
			//Y_Y_MAX_h
			05CB	0002
			//X_LUT_TEMPLATE_SEL
			04CD	0014
			//X_vs_dly_l
			04D8	0080
			//X_vs_dly_m
			04D9	00F9
			//X_vs_dly_h
			04DA	001C
			//X_vs_high_l
			04DB	0080
			//X_vs_high_m
			04DC	0040
			//X_vs_high_h
			04DD	0000
			//X_vs_low_l
			04DE	0020
			//X_vs_low_m
			04DF	0010
			//X_vs_low_h
			04E0	0000
			//X_hs_dly_l
			04E1	0000
			//X_hs_dly_m
			04E2	0000
			//X_hs_dly_h
			04E3	0000
			//X_hs_high_l
			04E4	0038
			//X_hs_high_h
			04E5	0000
			//X_hs_low_l
			04E6	00D8
			//X_hs_low_h
			04E7	0007
			//X_hs_cnt_l
			04E8	00A2
			//X_hs_cnt_h
			04E9	0003
			//X_hs_llow_l
			04EA	0000
			//X_hs_llow_m
			04EB	0000
			//X_hs_llow_h
			04EC	0000
			//X_de_dly_l
			04ED	0058
			//X_de_dly_m
			04EE	0000
			//X_de_dly_h
			04EF	0000
			//X_de_high_l
			04F0	0080
			//X_de_high_h
			04F1	0007
			//X_de_low_l
			04F2	0090
			//X_de_low_h
			04F3	0000
			//X_de_cnt_l
			04F4	00D0
			//X_de_cnt_h
			04F5	0002
			//X_de_llow_l
			04F6	00C8
			//X_de_llow_m
			04F7	009C
			//X_de_llow_h
			04F8	0006
			//Y_vs_dly_l
			05D8	0080
			//Y_vs_dly_m
			05D9	00F9
			//Y_vs_dly_h
			05DA	001C
			//Y_vs_high_l
			05DB	0080
			//Y_vs_high_m
			05DC	0040
			//Y_vs_high_h
			05DD	0000
			//Y_vs_low_l
			05DE	0020
			//Y_vs_low_m
			05DF	0010
			//Y_vs_low_h
			05E0	0000
			//Y_hs_dly_l
			05E1	0000
			//Y_hs_dly_m
			05E2	0000
			//Y_hs_dly_h
			05E3	0000
			//Y_hs_high_l
			05E4	0038
			//Y_hs_high_h
			05E5	0000
			//Y_hs_low_l
			05E6	00D8
			//Y_hs_low_h
			05E7	0007
			//Y_hs_cnt_l
			05E8	00A2
			//Y_hs_cnt_h
			05E9	0003
			//Y_hs_llow_l
			05EA	0000
			//Y_hs_llow_m
			05EB	0000
			//Y_hs_llow_h
			05EC	0000
			//Y_de_dly_l
			05ED	0058
			//Y_de_dly_m
			05EE	0000
			//Y_de_dly_h
			05EF	0000
			//Y_de_high_l
			05F0	0080
			//Y_de_high_h
			05F1	0007
			//Y_de_low_l
			05F2	0090
			//Y_de_low_h
			05F3	0000
			//Y_de_cnt_l
			05F4	00D0
			//Y_de_cnt_h
			05F5	0002
			//Y_de_llow_l
			05F6	00C8
			//Y_de_llow_m
			05F7	009C
			//Y_de_llow_h
			05F8	0006
			//Y_LUT_TEMPLATE_SEL
			05CD	0014
			//Turn off video
			6420	0010
			//Disable MST mode
			7019	0000
			//7019	0001	//Set MST_FUNCTION_ENABLE to 1
			//7904	0001	// Set MST_PAYLOAD_ID_0 to 01
			//7908	0002	// Set MST_PAYLOAD_ID_1 to 01
			//Disable MST_VS0_DTG_ENABLE
			7A14	0000
			//Disable LINK_ENABLE
			7000	0000
			//Reset DPRX core (VIDEO_INPUT_RESET)
			7054	0001
			ffff	f000	//delay 0xf000 us
			//Set MAX_LINK_RATE to 2.7Gb/s
			7074	000A
			//Set MAX_LINK_COUNT to 4
			7070	0004
			//Set ASYM_CTRL_PROP_GAIN to 000A
			04D0	000A
			05D0	000A
			//Set AEQ time to 16ms
			6064	0000
			6065	0000
			6164	0000
			6165	0000
			6264	0000
			6265	0000
			6364	0000
			6365	0000
			//Enable LINK_ENABLE
			7000	0001
			//delay 1000
			//Disable MSA reset
			7A18	0005
			//Adjust VS0_DMA_HSYNC
			7A28	00FF
			7A2A	00FF
			//Adjust VS0_DMA_VSYNC
			7A24	00FF
			7A27	000F
			//Enable MST_VS0_DTG_ENABLE
			7A14	0001
			//set EDP Video Control
			6421	0001
			//Turn on video
			6420	0013
			//delay 100
			//Turn off video
			6420	0010
			//delay 100
			//Turn on video
			6420	0013
			6421	0003
		];

		i2c5_max96745_pinctrl: i2c5-max96745-pinctrl {
			compatible = "maxim,max96745-pinctrl";
			pinctrl-names = "default";
			pinctrl-0 = <&i2c45_max96745_pinctrl_pins>;
			status = "disabled";

			i2c45_max96745_pinctrl_pins: pinctrl-pins {
				i2c {
					groups = "MAX96745_I2C";
					function = "MAX96745_I2C";
				};
				lcd-bl-pwm {
					pins = "MAX96745_MFP0";
					function = "SER_TXID0_TO_DES_LINKA";
				};
				tp-int {
					pins = "MAX96745_MFP1";
					function = "DES_RXID1_TO_SER_LINKA";
				};
				lcd-bl-pwm-split {
					pins = "MAX96745_MFP4";
					function = "SER_TXID4_TO_DES_LINKB";
				};
				tp-int-split {
					pins = "MAX96745_MFP5";
					function = "DES_RXID5_TO_SER_LINKB";
				};
			};

			i2c5_max96745_gpio: i2c5-max96745-gpio {
				compatible = "maxim,max96745-gpio";
				status = "okay";

				gpio-controller;
				#gpio-cells = <2>;
				gpio-ranges = <&i2c5_max96745_pinctrl 0 280 25>;
			};
		};

		i2c5_max96745_bridge: i2c5-max96745-bridge {
			compatible = "maxim,max96745-bridge";
			status = "disabled";
		};

		ports {
			#address-cells = <1>;
			#size-cells = <0>;

			port@0 {
				reg = <0>;

				i2c5_max96745_from_edp0: endpoint {
					remote-endpoint = <&edp0_out_i2c5_max96745>;
				};
			};

			port@1 {
				reg = <1>;

				i2c5_max96745_out_i2c5_max96752: endpoint {
					remote-endpoint = <&i2c5_max96752_from_i2c5_max96745>;
				};
			};

			port@2 {
				reg = <2>;

				i2c5_max96745_out_i2c5_max96752_split: endpoint {
					remote-endpoint = <&i2c5_max96752_split_from_i2c5_max96745>;
				};
			};
		};
	};

	i2c5_max96752: i2c5-max96752@4a {
		compatible = "maxim,max96752";
		reg = <0x4a>;
		#address-cells = <1>;
		#size-cells = <0>;
		id-serdes-panel-split = <0x02>;
		link = <0x01>;
		status = "disabled";

		serdes-init-sequence = [
			/*max96752 dual oLDI output*/
			0002 0043
			0073 0031
			007b 0031
			007d 0038
			//Address Value of I2C SRC_A
			0042 008a
			//Address Value of I2C DST_A
			0043 0090

			0050 0000
			01ce 004e
			01ea 0005
		];

		i2c5_max96752_pinctrl: i2c5-max96752-pinctrl {
			compatible = "maxim,max96752-pinctrl";
			status = "okay";

			pinctrl-names = "default","init","sleep";
			pinctrl-0 = <&i2c5_max96752_panel_pins>;
			pinctrl-1 = <&i2c5_max96752_panel_pins>;
			pinctrl-2 = <&i2c5_max96752_panel_sleep_pins>;

			i2c5_max96752_panel_pins: panel-pins {
				lcd-rst-pin {
					pins = "MAX96752_GPIO10";
					function = "DES_TXID10_OUTPUT_HIGH";
				};
				tp-rst {
					pins = "MAX96752_GPIO5";
					function = "DES_TXID5_OUTPUT_HIGH";
				};
				tp-int {
					pins = "MAX96752_GPIO2";
					function = "DES_TXID1_TO_SER";
				};
				100ms-delay {
					pins = "MAX96752_GPIO15";
					function = "DELAY_100MS";
				};
				lcd-pwr-on {
					pins = "MAX96752_GPIO3";
					function = "DES_TXID3_OUTPUT_HIGH";
				};
				lcd-bl-pwm {
					pins = "MAX96752_GPIO4";
					function = "SER_TO_DES_RXID4";
				};
				lcd_bias_en {
					pins = "MAX96752_GPIO7";
					function = "DES_TXID7_OUTPUT_HIGH";
				};
				lcd_vdd_en {
					pins = "MAX96752_GPIO6";
					function = "DES_TXID6_OUTPUT_HIGH";
				};
			};

			i2c5_max96752_panel_sleep_pins: panel-sleep-pins {
				lcd-rst-pin {
					pins = "MAX96752_GPIO10";
					function = "DES_TXID10_OUTPUT_LOW";
				};

				tp-rst {
					pins = "MAX96752_GPIO5";
					function = "DES_TXID5_OUTPUT_LOW";
				};

				lcd-pwr-on {
					pins = "MAX96752_GPIO3";
					function = "DES_TXID3_OUTPUT_LOW";
				};
			};

			i2c5_max96752_gpio: i2c5-max96752-gpio {
				compatible = "maxim,max96752-gpio";
				status = "okay";

				gpio-controller;
				#gpio-cells = <2>;
				gpio-ranges = <&i2c5_max96752_pinctrl 0 305 15>;
			};
		};

		i2c5_max96752_panel: i2c5-max96752-panel {
			compatible = "maxim,max96752-panel";
			status = "disabled";

			backlight = <&edp2lvds_backlight0>;
			panel-size= <346 194>;

			panel-timing {
				clock-frequency = <230400000>;	//4128*930@60
				hactive = <3840>;
				vactive = <720>;
				hfront-porch = <112>;
				hsync-len = <64>;
				hback-porch = <112>;
				vfront-porch = <200>;
				vsync-len = <2>;
				vback-porch = <8>;
				hsync-active = <0>;
				vsync-active = <0>;
				de-active = <0>;
				pixelclk-active = <0>;
			};

			port {
				i2c5_max96752_from_i2c5_max96745: endpoint {
					remote-endpoint = <&i2c5_max96745_out_i2c5_max96752>;
				};
			};
		};
	};

	i2c5_max96752_split: i2c5-max96752-split@4b {
		compatible = "maxim,max96752";
		reg = <0x4b>;
		reg-hw = <0x4a>;
		#address-cells = <1>;
		#size-cells = <0>;
		id-serdes-panel-split = <0x02>;
		link = <0x02>;
		status = "disabled";

		serdes-init-sequence = [
			/*max96752 dual oLDI output*/
			0002 0043
			0073 0032
			007b 0032
			007d 0038
			//Address Value of I2C SRC_A
			0042 008c
			//Address Value of I2C DST_A
			0043 0090

			//0140 0020
			0050 0001
			01ce 004e
			01ea 0005
		];

		i2c5_max96752_split_pinctrl: i2c5-max96752-split-pinctrl {
			compatible = "maxim,max96752-pinctrl";
			status = "disabled";

			pinctrl-names = "default","init","sleep";
			pinctrl-0 = <&i2c5_max96752_split_panel_pins>;
			pinctrl-1 = <&i2c5_max96752_split_panel_pins>;
			pinctrl-2 = <&i2c5_max96752_split_panel_sleep_pins>;

			i2c5_max96752_split_panel_pins: i2c5-max96752-split-panel-pins {
				lcd-rst-pin {
					pins = "MAX96752_GPIO10";
					function = "DES_TXID10_OUTPUT_HIGH";
				};
				tp-rst {
					pins = "MAX96752_GPIO5";
					function = "DES_TXID5_OUTPUT_HIGH";
				};
				tp-int {
					pins = "MAX96752_GPIO2";
					function = "DES_TXID4_TO_SER";
				};
				100ms-delay {
					pins = "MAX96752_GPIO15";
					function = "DELAY_100MS";
				};
				lcd-pwr-on {
					pins = "MAX96752_GPIO3";
					function = "DES_TXID3_OUTPUT_HIGH";
				};
				lcd-bl-pwm {
					pins = "MAX96752_GPIO4";
					function = "SER_TO_DES_RXID4";
				};
				lcd_bias_en {
					pins = "MAX96752_GPIO7";
					function = "DES_TXID7_OUTPUT_HIGH";
				};
				lcd_vdd_en {
					pins = "MAX96752_GPIO6";
					function = "DES_TXID6_OUTPUT_HIGH";
				};
			};

			i2c5_max96752_split_panel_sleep_pins: i2c5-max96752-split-panel-sleep-pins {
				lcd-rst-pin {
					pins = "MAX96752_GPIO10";
					function = "DES_TXID10_OUTPUT_LOW";
				};

				tp-rst {
					pins = "MAX96752_GPIO5";
					function = "DES_TXID5_OUTPUT_LOW";
				};

				lcd-pwr-on {
					pins = "MAX96752_GPIO3";
					function = "DES_TXID3_OUTPUT_LOW";
				};
			};

			i2c5_max96752_split_gpio: i2c5-max96752-split-gpio {
				compatible = "maxim,max96752-gpio";
				status = "okay";

				gpio-controller;
				#gpio-cells = <2>;
				gpio-ranges = <&i2c5_max96752_split_pinctrl 0 320 15>;
			};
		};

		i2c5_max96752_split_panel: i2c5-max96752-split-panel {
			compatible = "maxim,max96752-panel-split";
			status = "disabled";

			backlight = <&edp2lvds_backlight1>;
			panel-size= <346 194>;

			panel-timing {
				clock-frequency = <115200000>;
				hactive = <1920>;
				vactive = <720>;
				hfront-porch = <56>;
				hsync-len = <32>;
				hback-porch = <56>;
				vfront-porch = <200>;
				vsync-len = <2>;
				vback-porch = <8>;
				hsync-active = <0>;
				vsync-active = <0>;
				de-active = <0>;
				pixelclk-active = <0>;
			};

			port {
				i2c5_max96752_split_from_i2c5_max96745: endpoint {
					remote-endpoint = <&i2c5_max96745_out_i2c5_max96752_split>;
				};
			};
		};
	};

	himax@45 {
		compatible = "himax,hxcommon";
		reg = <0x45>;
		pinctrl-names = "default", "sleep";
		pinctrl-0 = <&touch_gpio_edp0>;
		pinctrl-1 = <&touch_gpio_edp0>;
		himax,location = "himax-touch-edp0";
		himax,irq-gpio = <&gpio1 RK_PA5 IRQ_TYPE_EDGE_FALLING>;
		himax,rst-gpio = <&i2c5_max96752_gpio 5 GPIO_ACTIVE_LOW>;
		himax,panel-coords = <0 1920 0 720>;
		himax,display-coords = <0 1920 0 720>;
		status = "disabled";
	};

	himax_split@46 {
		compatible = "himax,hxcommon";
		reg = <0x46>;
		pinctrl-names = "default", "sleep";
		pinctrl-0 = <&touch_gpio_edp0>;
		pinctrl-1 = <&touch_gpio_edp0>;
		himax,location = "himax-touch-edp0-split";
		//himax,irq-gpio = <&gpio1 RK_PA5 IRQ_TYPE_EDGE_FALLING>;
		himax,rst-gpio = <&i2c5_max96752_gpio 5 GPIO_ACTIVE_LOW>;
		himax,panel-coords = <0 1920 0 720>;
		himax,display-coords = <0 1920 0 720>;
		status = "disabled";
	};
};

&mipi_dcphy0 {
	status = "okay";
};

&mipi_dcphy1 {
	status = "okay";
};

&pinctrl {
	serdes {
		i2c2_serdes_pins: i2c2-serdes-pins {
			rockchip,pins =
				<1 RK_PA4 RK_FUNC_GPIO &pcfg_pull_up>;
		};

		i2c4_serdes_pins: i2c4-serdes-pins {
			rockchip,pins =
				<3 RK_PD4 RK_FUNC_GPIO &pcfg_pull_up>;
		};

		i2c5_serdes_pins: i2c5-serdes-pins {
			rockchip,pins =
				<0 RK_PD2 RK_FUNC_GPIO &pcfg_pull_up>;
		};

		i2c6_serdes_pins: i2c6-serdes-pins {
			rockchip,pins =
				<1 RK_PA5 RK_FUNC_GPIO &pcfg_pull_up>;
		};

		i2c7_serdes_pins: i2c7-serdes-pins {
			rockchip,pins =
				<4 RK_PA7 RK_FUNC_GPIO &pcfg_pull_up>;
		};

		i2c8_serdes_pins: i2c8-serdes-pins {
			rockchip,pins =
				<3 RK_PD2 RK_FUNC_GPIO &pcfg_pull_up>;
		};
	};
};

/* dsi0->serdes->lvds_panel */
&pwm0 {
	status = "okay";
	pinctrl-0 = <&pwm0m2_pins>;
};

/* dp0->serdes->lvds_panel */
&pwm10 {
	pinctrl-0 = <&pwm10m2_pins>;
	status = "okay";
};

/* edp1->serdes->lvds_panel */
&pwm11 {
	pinctrl-0 = <&pwm11m3_pins>;
	status = "okay";
};

/* edp0->serdes->lvds_panel */
&pwm7 {
	pinctrl-0 = <&pwm7m0_pins>;
	status = "okay";
};

/* dsi1->serdes->lvds_panel */
&pwm13 {
	status = "okay";
	pinctrl-0 = <&pwm13m2_pins>;	//hw change to PWM13_M2(GPIO1_B7)
};

/* dp1->serdes->lvds_panel */
&pwm14 {
	pinctrl-0 = <&pwm14m0_pins>;
	status = "okay";
};

&route_dp0 {
	status = "disabled";
	connect = <&vp0_out_dp0>;
	logo,uboot = "logo34.bmp";
	logo,kernel = "logo34.bmp";
};

&route_dp1 {
	status = "disabled";
	connect = <&vp0_out_dp1>;
	logo,uboot = "logo34.bmp";
	logo,kernel = "logo34.bmp";
};

&route_dsi0 {
	status = "disabled";
	connect = <&vp2_out_dsi0>;
	logo,uboot = "logo1.bmp";
	logo,kernel = "logo1.bmp";
};

&route_dsi1 {
	status = "disabled";
	connect = <&vp3_out_dsi1>;
	logo,uboot = "logo2.bmp";
	logo,kernel = "logo2.bmp";
};

&route_edp0 {
	status = "disabled";
	connect = <&vp1_out_edp0>;
	logo,uboot = "logo56.bmp";
	logo,kernel = "logo56.bmp";
};

&route_edp1 {
	status = "disabled";
	connect = <&vp1_out_edp1>;
	logo,uboot = "logo56.bmp";
	logo,kernel = "logo56.bmp";
};

&usbdp_phy0 {
	rockchip,dp-lane-mux = <0 1 2 3>;
	status = "okay";
};

&usbdp_phy1 {
	rockchip,dp-lane-mux = <0 1 2 3>;
	status = "okay";
};

&vop {
	assigned-clocks = <&cru PLL_V0PLL>;
	assigned-clock-rates = <2304000000>;
};

&vp0 {
	assigned-clocks = <&cru DCLK_VOP0_SRC>;
	assigned-clock-parents = <&cru PLL_V0PLL>;
};

&vp1 {
	assigned-clocks = <&cru DCLK_VOP1_SRC>;
	assigned-clock-parents = <&cru PLL_GPLL>;
};

&vp2 {
	assigned-clocks = <&cru DCLK_VOP2_SRC>;
	assigned-clock-parents = <&cru PLL_V0PLL>;
};

&vp3 {
	assigned-clocks = <&cru DCLK_VOP3>;
	assigned-clock-parents = <&cru PLL_V0PLL>;
};
